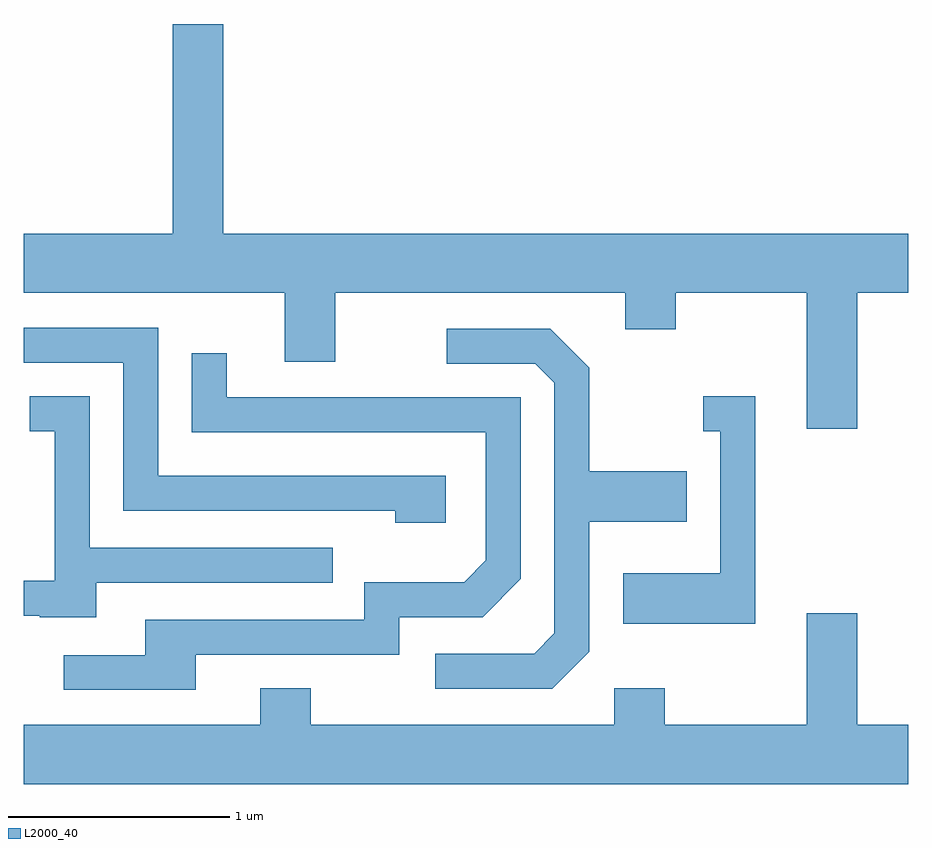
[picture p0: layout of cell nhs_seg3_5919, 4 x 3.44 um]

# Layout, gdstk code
import gdstk
lib = gdstk.Library(unit=1e-6, precision=1e-09)
def P(c, l, *ps):  # polygons
    for p in ps: c.add(gdstk.Polygon(p, *l))
L2000_40 = (2000, 40)

nhs_seg3_5919 = lib.new_cell('nhs_seg3_5919')
P(nhs_seg3_5919, L2000_40, [(363.379,1132.676),(363.611,1132.676),(363.611,1132.944),(360.514,1132.944),(360.514,1133.892),(360.286,1133.892),(360.286,1132.944),(359.611,1132.944),(359.611,1132.676),(360.791,1132.676),(360.791,1132.366),(361.019,1132.366),(361.019,1132.676),(362.331,1132.676),(362.331,1132.511),(362.559,1132.511),(362.559,1132.676),(363.151,1132.676),(363.151,1132.061),(363.379,1132.061)],
  [(361.519,1131.849),(360.219,1131.849),(360.219,1132.519),(359.611,1132.519),(359.611,1132.361),(360.061,1132.361),(360.061,1131.691),(361.291,1131.691),(361.291,1131.636),(361.519,1131.636)],
  [(362.169,1131.054),(362.169,1131.641),(362.609,1131.641),(362.609,1131.869),(362.169,1131.869),(362.169,1132.337),(361.992,1132.514),(361.523,1132.514),(361.523,1132.356),(361.924,1132.356),(362.011,1132.269),(362.011,1131.137),(361.919,1131.044),(361.473,1131.044),(361.473,1130.886),(362.002,1130.886)],
  [(360.389,1131.041),(361.309,1131.041),(361.309,1131.211),(361.687,1131.211),(361.859,1131.384),(361.859,1132.204),(360.529,1132.204),(360.529,1132.403),(360.371,1132.403),(360.371,1132.046),(361.701,1132.046),(361.701,1131.467),(361.604,1131.369),(361.151,1131.369),(361.151,1131.199),(360.161,1131.199),(360.161,1131.039),(359.793,1131.039),(359.793,1130.881),(360.389,1130.881)],
  [(362.919,1132.209),(362.683,1132.209),(362.683,1132.051),(362.761,1132.051),(362.761,1131.409),(362.321,1131.409),(362.321,1131.181),(362.919,1131.181)],
  [(359.939,1131.366),(361.008,1131.366),(361.008,1131.524),(359.909,1131.524),(359.909,1132.209),(359.638,1132.209),(359.638,1132.051),(359.751,1132.051),(359.751,1131.374),(359.611,1131.374),(359.611,1131.216),(359.685,1131.216),(359.685,1131.211),(359.939,1131.211)],
  [(363.611,1130.724),(363.379,1130.724),(363.379,1131.229),(363.151,1131.229),(363.151,1130.724),(362.509,1130.724),(362.509,1130.889),(362.281,1130.889),(362.281,1130.724),(360.909,1130.724),(360.909,1130.889),(360.681,1130.889),(360.681,1130.724),(359.611,1130.724),(359.611,1130.456),(363.611,1130.456)])

lib.write_gds('nhs_seg3_5919.gds')
